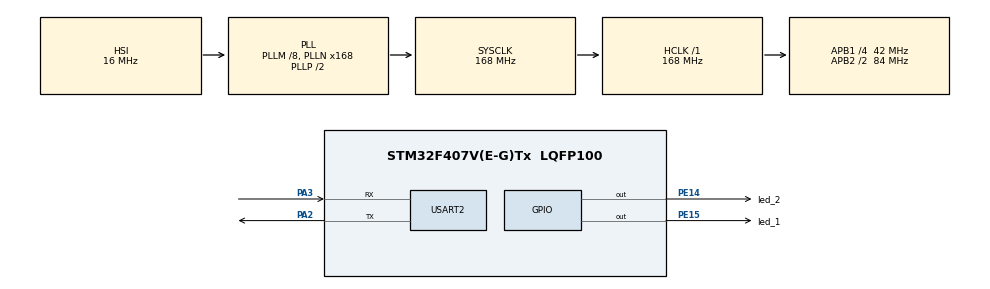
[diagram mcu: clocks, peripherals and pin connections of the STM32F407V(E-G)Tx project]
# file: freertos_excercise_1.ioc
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FREERTOS.Tasks01=defaultTask,24,128,StartDefaultTask,Default,NULL,Dynamic,NULL,NULL
FREERTOS.configUSE_NEWLIB_REENTRANT=0
Mcu.Family=STM32F4
Mcu.Name=STM32F407V(E-G)Tx
Mcu.Package=LQFP100
NVIC.PriorityGroup=NVIC_PRIORITYGROUP_4
NVIC.TIM1_UP_TIM10_IRQn=true\:15\:0\:false\:false\:true\:false\:false\:true\:true
NVIC.TimeBase=TIM1_UP_TIM10_IRQn
NVIC.TimeBaseIP=TIM1
PA2.Mode=Asynchronous
PA2.Signal=USART2_TX
PA3.Mode=Asynchronous
PA3.Signal=USART2_RX
PE14.GPIO_Label=led_2
PE14.Signal=GPIO_Output
PE15.GPIO_Label=led_1
PE15.Signal=GPIO_Output
ProjectManager.HeapSize=0x200
ProjectManager.StackSize=0x400
ProjectManager.TargetToolchain=STM32CubeIDE
RCC.48MHZClocksFreq_Value=84000000
RCC.AHBFreq_Value=168000000
RCC.APB1CLKDivider=RCC_HCLK_DIV4
RCC.APB1Freq_Value=42000000
RCC.APB1TimFreq_Value=84000000
RCC.APB2CLKDivider=RCC_HCLK_DIV2
RCC.APB2Freq_Value=84000000
RCC.APB2TimFreq_Value=168000000
RCC.CortexFreq_Value=168000000
RCC.HCLKFreq_Value=168000000
RCC.HSE_VALUE=25000000
RCC.HSI_VALUE=16000000
RCC.LSE_VALUE=32768
RCC.PLLM=8
RCC.PLLN=168
RCC.SYSCLKFreq_VALUE=168000000
RCC.SYSCLKSource=RCC_SYSCLKSOURCE_PLLCLK
RCC.VCOOutputFreq_Value=336000000
USART2.VirtualMode=VM_ASYNC
VP_FREERTOS_VS_CMSIS_V2.Mode=CMSIS_V2
VP_SYS_VS_tim1.Mode=TIM1
board=custom

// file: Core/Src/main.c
/* USER CODE BEGIN Header */
/**
  ******************************************************************************
  * @file           : main.c
  * @brief          : Main program body
  ******************************************************************************
  * @attention
  *
  * Copyright (c) 2023 STMicroelectronics.
  * All rights reserved.
  *
  * This software is licensed under terms that can be found in the LICENSE file
  * in the root directory of this software component.
  * If no LICENSE file comes with this software, it is provided AS-IS.
  *
  ******************************************************************************
  */
/* USER CODE END Header */
#include "main.h"
#include "cmsis_os.h"

/* USER CODE BEGIN Includes */
#include "stdio.h"
#include "string.h"
/* USER CODE END Includes */

UART_HandleTypeDef huart2;

/* Definitions for defaultTask */

/* USER CODE BEGIN PV */
typedef uint32_t TaskProfiler_t ;

uint32_t 	a=0;
uint32_t	b=0;
uint32_t	c=0;
/* USER CODE END PV */

void SystemClock_Config(void);
static void MX_GPIO_Init(void);
static void MX_USART2_UART_Init(void);
void StartDefaultTask(void *argument);

/* USER CODE BEGIN PFP */
void vBlueLedControllerTask(void *pvParameters);//prototipo de funcion de tarea manejadora de leds
void vRedLedControllerTask(void *pvParameters);//prototipo de funcion de tarea manejadora de leds
void vGreenLedControllerTask(void *pvParameters);//prototipo de funcion de tarea manejadora de leds
void SerialUartSendString(char *ptr);
/* USER CODE END PFP */

int main(void)
{

  /* MCU Configuration--------------------------------------------------------*/

  /* Reset of all peripherals, Initializes the Flash interface and the Systick. */
  HAL_Init();

  /* Configure the system clock */
  SystemClock_Config();

  /* Initialize all configured peripherals */
  MX_GPIO_Init();
  MX_USART2_UART_Init();

  /* Init scheduler */

  /* Create the thread(s) */
  /* creation of defaultTask */

  /* USER CODE BEGIN RTOS_THREADS */
  /* add threads, ... */
  //xTaskCreate(vBlueLedControllerTask,
	//	  	  "Blue Led Controller",100,NULL,1,NULL); //creamos la tarea 1
  xTaskCreate(vRedLedControllerTask,
 		  	  "Red Led Controller",100,NULL,1,NULL); //creamos la tarea 2
  //xTaskCreate(vGreenLedControllerTask,
 	//	  	  "Green Led Controller",100,NULL,1,NULL); //creamos la tarea 2
  /* USER CODE END RTOS_THREADS */

  /* Start scheduler */

vTaskStartScheduler();//start the task cheduler

  /* We should never get here as control is now taken by the scheduler */
  /* Infinite loop */
  while (1)
  {

    /* USER CODE BEGIN 3 */
	  //HAL_UART_Transmit(&huart2, (uint8_t *)&msg, 1, HAL_MAX_DELAY);
	  //HAL_Delay(1000);
	 //SerialUartSendString("Hola Mundo\n");
	printf("Hola mundo \n\r");
	  //HAL_Delay(1000);
  }

  /* USER CODE END 3 */
}

void SystemClock_Config(void)
{
  RCC_OscInitTypeDef RCC_OscInitStruct = {0};
  RCC_ClkInitTypeDef RCC_ClkInitStruct = {0};

  /** Configure the main internal regulator output voltage
  */
  __HAL_RCC_PWR_CLK_ENABLE();
  __HAL_PWR_VOLTAGESCALING_CONFIG(PWR_REGULATOR_VOLTAGE_SCALE1);

  /** Initializes the RCC Oscillators according to the specified parameters
  * in the RCC_OscInitTypeDef structure.
  */
  RCC_OscInitStruct.OscillatorType = RCC_OSCILLATORTYPE_HSI;
  RCC_OscInitStruct.HSIState = RCC_HSI_ON;
  RCC_OscInitStruct.HSICalibrationValue = RCC_HSICALIBRATION_DEFAULT;
  RCC_OscInitStruct.PLL.PLLState = RCC_PLL_ON;
  RCC_OscInitStruct.PLL.PLLSource = RCC_PLLSOURCE_HSI;
  RCC_OscInitStruct.PLL.PLLM = 8;
  RCC_OscInitStruct.PLL.PLLN = 168;
  RCC_OscInitStruct.PLL.PLLP = RCC_PLLP_DIV2;
  RCC_OscInitStruct.PLL.PLLQ = 4;
  if (HAL_RCC_OscConfig(&RCC_OscInitStruct) != HAL_OK)
  {
    Error_Handler();
  }

  /** Initializes the CPU, AHB and APB buses clocks
  */
  RCC_ClkInitStruct.ClockType = RCC_CLOCKTYPE_HCLK|RCC_CLOCKTYPE_SYSCLK
                              |RCC_CLOCKTYPE_PCLK1|RCC_CLOCKTYPE_PCLK2;
  RCC_ClkInitStruct.SYSCLKSource = RCC_SYSCLKSOURCE_PLLCLK;
  RCC_ClkInitStruct.AHBCLKDivider = RCC_SYSCLK_DIV1;
  RCC_ClkInitStruct.APB1CLKDivider = RCC_HCLK_DIV4;
  RCC_ClkInitStruct.APB2CLKDivider = RCC_HCLK_DIV2;

  if (HAL_RCC_ClockConfig(&RCC_ClkInitStruct, FLASH_LATENCY_5) != HAL_OK)
  {
    Error_Handler();
  }
}

static void MX_USART2_UART_Init(void)
{

  huart2.Instance = USART2;
  huart2.Init.BaudRate = 115200;
  huart2.Init.WordLength = UART_WORDLENGTH_8B;
  huart2.Init.StopBits = UART_STOPBITS_1;
  huart2.Init.Parity = UART_PARITY_NONE;
  huart2.Init.Mode = UART_MODE_TX_RX;
  huart2.Init.HwFlowCtl = UART_HWCONTROL_NONE;
  huart2.Init.OverSampling = UART_OVERSAMPLING_16;
  if (HAL_UART_Init(&huart2) != HAL_OK)
  {
    Error_Handler();
  }

}

static void MX_GPIO_Init(void)
{
  GPIO_InitTypeDef GPIO_InitStruct = {0};

  /* GPIO Ports Clock Enable */
  __HAL_RCC_GPIOA_CLK_ENABLE();
  __HAL_RCC_GPIOE_CLK_ENABLE();

  /*Configure GPIO pin Output Level */
  HAL_GPIO_WritePin(GPIOE, led_2_Pin|led_1_Pin, GPIO_PIN_RESET);

  /*Configure GPIO pins : led_2_Pin led_1_Pin */
  GPIO_InitStruct.Pin = led_2_Pin|led_1_Pin;
  GPIO_InitStruct.Mode = GPIO_MODE_OUTPUT_PP;
  GPIO_InitStruct.Pull = GPIO_NOPULL;
  GPIO_InitStruct.Speed = GPIO_SPEED_FREQ_LOW;
  HAL_GPIO_Init(GPIOE, &GPIO_InitStruct);

}

/* USER CODE BEGIN 4 */
/*printf definition*/
#ifdef __GNUC__
#define PUTCHAR_PROTOTYPE int __io_putchar(int ch)
#else
#define PUTCHAR_PROTOTYPE int fputc(int ch, FILE *f)
#endif

PUTCHAR_PROTOTYPE
{
  HAL_UART_Transmit(&huart2, (uint8_t *)&ch, 1, HAL_MAX_DELAY);
  return ch;
}

/*tarea controladora de led*/
void vBlueLedControllerTask(void *pvParameters)
{
	while (1)
	{
		//printf("vBlueLedControllerTask running... \n\r");
		a++;

	}

}

//segunda tarea
void vRedLedControllerTask(void *pvParameters)
{
	while (1)
	{
		//printf("RedLedControllerTask running... \n\r");
		//HAL_GPIO_TogglePin(led_1_GPIO_Port, led_1_Pin);
		//HAL_GPIO_WritePin(led_1_GPIO_Port, led_1_Pin, GPIO_PIN_SET);
		b++;
	}

}
//tercera tarea
void vGreenLedControllerTask(void *pvParameters)
{
	while (1)
	{
		//printf("GreenLedControllerTask running... \n\r");
		//HAL_GPIO_TogglePin(led_2_GPIO_Port, led_2_Pin);
		//HAL_GPIO_WritePin(led_2_GPIO_Port, led_2_Pin, GPIO_PIN_SET);
		c++;

	}

}
/* USER CODE END 4 */

void HAL_TIM_PeriodElapsedCallback(TIM_HandleTypeDef *htim)
{
  if (htim->Instance == TIM1) {
    HAL_IncTick();
  }
}

void Error_Handler(void)
{
  __disable_irq();
  while (1)
  {
  }
}
